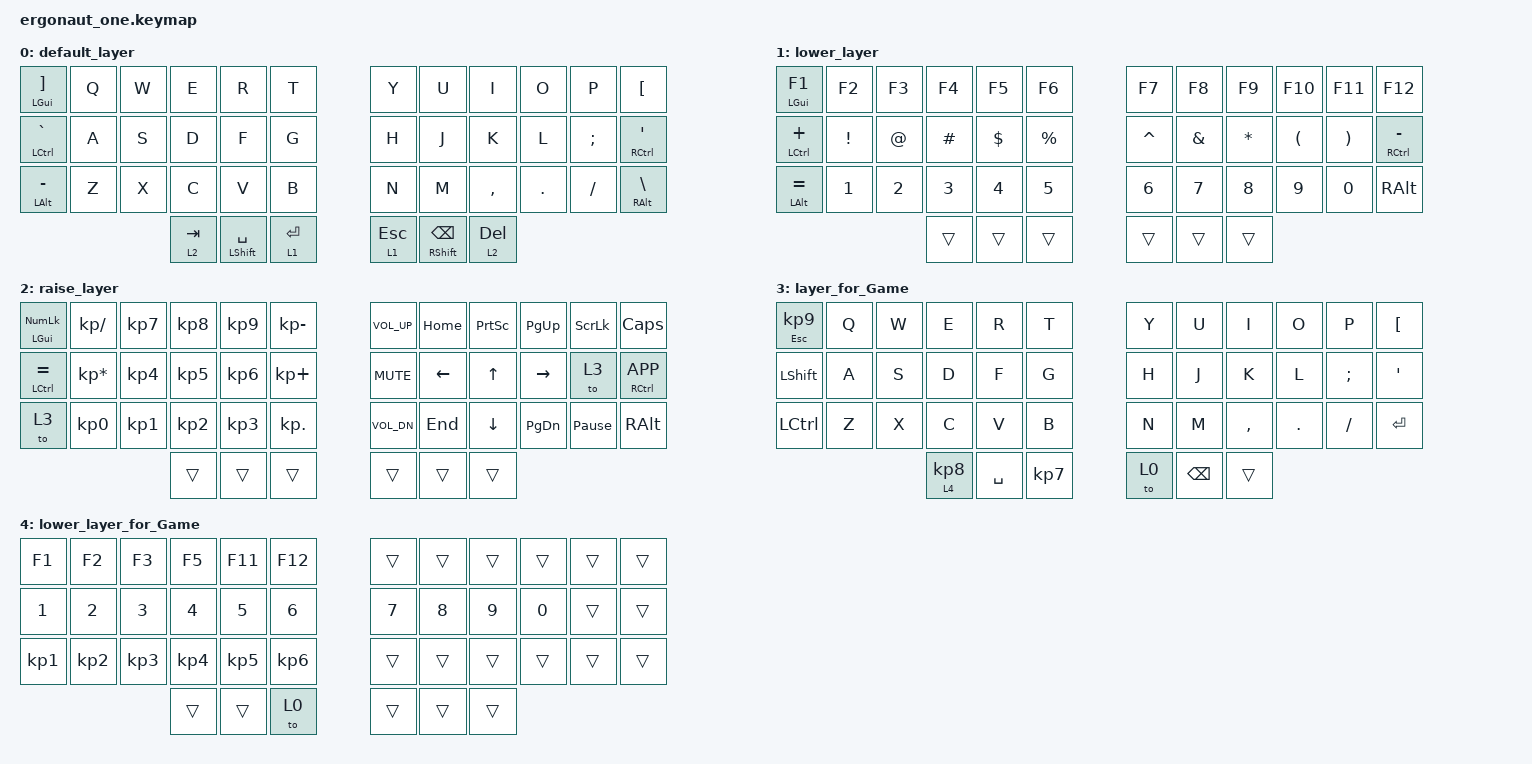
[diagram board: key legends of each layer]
#include <behaviors.dtsi>
#include <dt-bindings/zmk/keys.h>

#define DEF 0
#define LWR 1
#define RSE 2
#define ADJ 3

&lt { quick-tap-ms = <200>; };

&mt { quick-tap-ms = <200>; };

/ {
    conditional_layers {
        compatible = "zmk,conditional-layers";

        tri-layer {
            if-layers = <1 2>;
            then-layer = <3>;
        };
    };

    keymap {
        compatible = "zmk,keymap";

        default_layer {
            bindings = <
&mt LGUI RBKT    &kp Q  &kp W  &kp E      &kp R            &kp T      &kp Y      &kp U           &kp I      &kp O    &kp P     &kp LBKT
&mt LCTRL GRAVE  &kp A  &kp S  &kp D      &kp F            &kp G      &kp H      &kp J           &kp K      &kp L    &kp SEMI  &mt RCTRL SQT
&mt LALT MINUS   &kp Z  &kp X  &kp C      &kp V            &kp B      &kp N      &kp M           &kp COMMA  &kp DOT  &kp FSLH  &mt RALT BSLH
                               &lt 2 TAB  &mt LSHFT SPACE  &lt 1 RET  &lt 1 ESC  &mt RSHFT BSPC  &lt 2 DEL
            >;
        };

        lower_layer {
            bindings = <
&mt LGUI F1     &kp F2    &kp F3  &kp F4    &kp F5    &kp F6     &kp F7     &kp F8    &kp F9    &kp F10   &kp F11   &kp F12
&mt LCTRL PLUS  &kp EXCL  &kp AT  &kp HASH  &kp DLLR  &kp PRCNT  &kp CARET  &kp AMPS  &kp STAR  &kp LPAR  &kp RPAR  &mt RCTRL MINUS
&mt LALT EQUAL  &kp N1    &kp N2  &kp N3    &kp N4    &kp N5     &kp N6     &kp N7    &kp N8    &kp N9    &kp N0    &kp RALT
                                  &trans    &trans    &trans     &trans     &trans    &trans
            >;
        };

        raise_layer {
            bindings = <
&mt LGUI KP_NUM  &kp KP_SLASH     &kp KP_N7  &kp KP_N8  &kp KP_N9  &kp KP_MINUS  &kp C_VOL_UP  &kp HOME  &kp PSCRN  &kp PG_UP  &kp SLCK         &kp CLCK
&mt LCTRL EQUAL  &kp KP_MULTIPLY  &kp KP_N4  &kp KP_N5  &kp KP_N6  &kp KP_PLUS   &kp C_MUTE    &kp LEFT  &kp UP     &kp RIGHT  &to 3            &mt RCTRL K_APP
&to 3            &kp KP_N0        &kp KP_N1  &kp KP_N2  &kp KP_N3  &kp KP_DOT    &kp C_VOL_DN  &kp END   &kp DOWN   &kp PG_DN  &kp PAUSE_BREAK  &kp RALT
                                             &trans     &trans     &trans        &trans        &trans    &trans
            >;
        };

        layer_for_Game {
            bindings = <
&mt ESC KP_NUMBER_9  &kp Q  &kp W  &kp E              &kp R      &kp T            &kp Y  &kp U          &kp I      &kp O       &kp P          &kp LEFT_BRACKET
&kp LSHFT            &kp A  &kp S  &kp D              &kp F      &kp G            &kp H  &kp J          &kp K      &kp L       &kp SEMICOLON  &kp SQT
&kp LCTRL            &kp Z  &kp X  &kp C              &kp V      &kp B            &kp N  &kp M          &kp COMMA  &kp PERIOD  &kp SLASH      &kp ENTER
                                   &lt 4 KP_NUMBER_8  &kp SPACE  &kp KP_NUMBER_7  &to 0  &kp BACKSPACE  &trans
            >;
        };

        lower_layer_for_Game {
            bindings = <
&kp F1           &kp F2           &kp F3           &kp F5           &kp F11          &kp F12          &trans        &trans  &trans  &trans  &trans  &trans
&kp NUMBER_1     &kp NUMBER_2     &kp NUMBER_3     &kp NUMBER_4     &kp N5           &kp NUMBER_6     &kp NUMBER_7  &kp N8  &kp N9  &kp N0  &trans  &trans
&kp KP_NUMBER_1  &kp KP_NUMBER_2  &kp KP_NUMBER_3  &kp KP_NUMBER_4  &kp KP_NUMBER_5  &kp KP_NUMBER_6  &trans        &trans  &trans  &trans  &trans  &trans
                                                   &trans           &trans           &to 0            &trans        &trans  &trans
            >;
        };
    };
};
